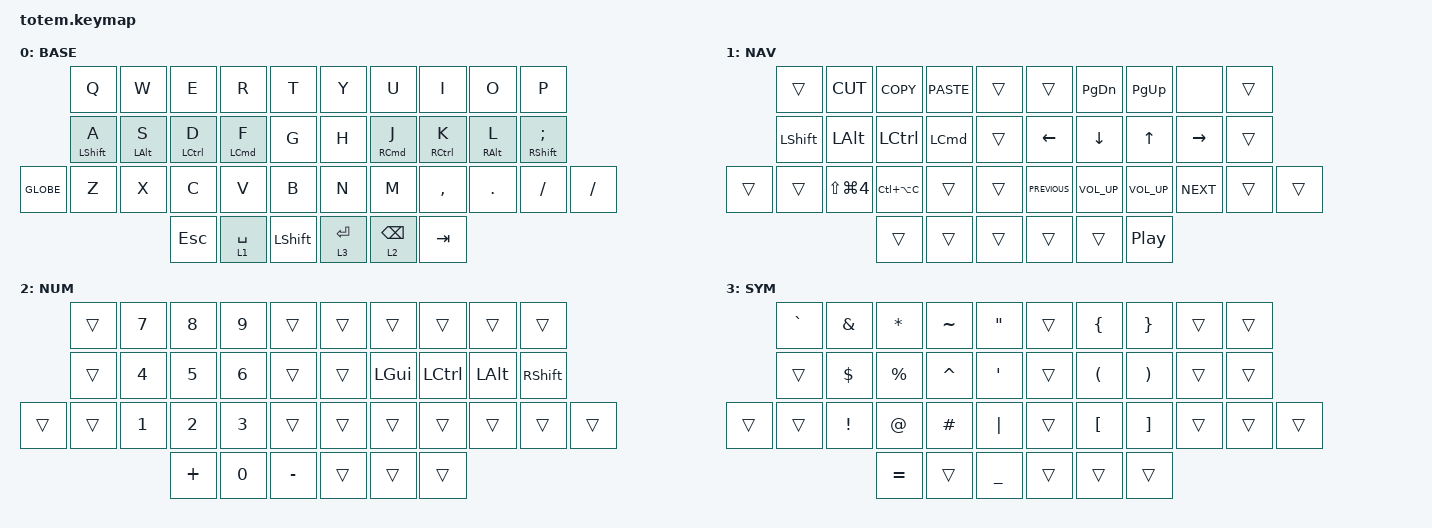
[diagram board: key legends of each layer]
//
//                                                        ▀▀▀▀▀     ▀▀▀▀▀          ▀▀█▀▀
//                                                        ▄▀▀▀▄  ▄  ▄▀▀▀▄  ▄  ▄▀▀▀▄  █  ▄▀▀▀▄
//                                                        █   █  █  █   █  █  █   █  █  █   █
//                                                         ▀▀▀   █   ▀▀▀   █   ▀▀▀   ▀   ▀▀▀
//                                                               █      ▄▄▄█▄▄▄    █   █  
//                                                               ▀      █  █  █     █▄█
//                                                             ▀▀▀▀▀    █  █  █      ▀
//                                                                      ▀  ▀  ▀
//
// ▄▄▄▄▄▄▄▄▄▄▄▄▄▄▄▄▄▄▄▄▄▄▄▄▄▄▄▄▄▄▄▄▄▄▄▄▄▄▄▄▄▄▄▄▄▄▄▄▄▄▄▄▄▄▄▄▄▄▄▄▄▄▄▄▄▄▄▄▄▄▄▄▄▄▄▄▄▄▄▄▄▄▄▄▄▄▄▄▄▄▄▄▄▄▄▄▄▄▄▄▄▄▄▄▄▄▄▄▄▄▄▄▄▄▄▄▄▄▄▄▄▄▄▄▄▄▄▄▄▄▄▄▄▄▄▄▄▄▄▄▄▄▄▄▄▄▄▄▄

#include <behaviors.dtsi>
#include <dt-bindings/zmk/keys.h>

#define BASE 0
#define NAV  1
#define SYM  2
#define ADJ  3

&mt {
    quick-tap-ms = <100>;
    global-quick-tap;
    flavor = "tap-preferred";
    tapping-term-ms = <170>;
};

/ {
    combos { compatible = "zmk,combos"; };

    macros {
        gif: gif {
            label = "giphy";
            compatible = "zmk,behavior-macro";
            #binding-cells = <0>;
            bindings =
                <&macro_press>,
                <&kp LSHFT>,
                <&macro_tap>,
                <&kp N2>,
                <&macro_release>,
                <&kp LSHFT>,
                <&macro_tap>,
                <&kp G &kp I &kp F>;
        };
    };

    keymap {
        compatible = "zmk,keymap";

        // ▄▄▄▄▄▄▄▄▄▄▄▄▄▄▄▄▄▄▄▄▄▄▄▄▄▄▄▄▄▄▄▄▄▄▄▄▄▄▄▄▄▄▄▄▄▄▄▄▄▄▄▄▄▄▄▄▄▄▄▄▄▄▄▄▄▄▄▄▄▄▄▄▄▄▄▄▄▄▄▄▄▄▄▄▄▄▄▄▄▄▄▄▄▄▄▄▄▄▄▄▄▄▄▄▄▄▄▄▄▄▄▄▄▄▄▄▄▄▄▄▄▄▄▄▄▄▄▄▄▄▄▄▄▄▄▄▄▄▄▄▄▄▄▄▄▄▄▄▄

        base_layer {
            // ┏━━━━━━━━━━━━━━━━━━━━━━━━━━━━━━━━━━━━━━━┓

            label = "BASE";

            // ┗━━━━━━━━━━━━━━━━━━━━━━━━━━━━━━━━━━━━━━━┛
            //             ┏━━━━━━━━━━━┳━━━━━━━━━━━┳━━━━━━━━━━━┳━━━━━━━━━━━┳━━━━━━━━━━━┓   ┏━━━━━━━━━━━┳━━━━━━━━━━━┳━━━━━━━━━━━┳━━━━━━━━━━━┳━━━━━━━━━━━┓
            //             ┃     Q     ┃     W     ┃     F     ┃     P     ┃     G     ┃   ┃     J     ┃     L     ┃     U     ┃     Y     ┃     ;     ┃
            //             ┣━━━━━━━━━━━╋━━━━━━━━━━━╋━━━━━━━━━━━╋━━━━━━━━━━━╋━━━━━━━━━━━┫   ┣━━━━━━━━━━━╋━━━━━━━━━━━╋━━━━━━━━━━━╋━━━━━━━━━━━╋━━━━━━━━━━━┫
            //             ┃     A     ┃     R     ┃     S     ┃     T     ┃     D     ┃   ┃     H     ┃     N     ┃     E     ┃     I     ┃     O     ┃
            // ┏━━━━━━━━━━━╋━━━━━━━━━━━╋━━━━━━━━━━━╋━━━━━━━━━━━╋━━━━━━━━━━━╋━━━━━━━━━━━┫   ┣━━━━━━━━━━━╋━━━━━━━━━━━╋━━━━━━━━━━━╋━━━━━━━━━━━╋━━━━━━━━━━━╋━━━━━━━━━━━┓
            // ┃           ┃     Z     ┃     X     ┃     C     ┃     V     ┃     B     ┃   ┃     K     ┃     M     ┃     ,     ┃     .     ┃     /     ┃           ┃
            // ┗━━━━━━━━━━━┻━━━━━━━━━━━┻━━━━━━━━━━━╋━━━━━━━━━━━╋━━━━━━━━━━━╋━━━━━━━━━━━┫   ┣━━━━━━━━━━━╋━━━━━━━━━━━╋━━━━━━━━━━━╋━━━━━━━━━━━┻━━━━━━━━━━━┻━━━━━━━━━━━┛
            //                                     ┃           ┃    TAB    ┃    SPC    ┃   ┃   ENTER   ┃   BSPC    ┃           ┃
            //                                     ┗━━━━━━━━━━━┻━━━━━━━━━━━┻━━━━━━━━━━━┛   ┗━━━━━━━━━━━┻━━━━━━━━━━━┻━━━━━━━━━━━┛

            bindings = <
           &kp Q             &kp W       &kp E        &kp R               &kp T             &kp Y      &kp U                &kp I        &kp O       &kp P
           &mt LEFT_SHIFT A  &mt LALT S  &mt LCTRL D  &mt LEFT_COMMAND F  &kp G             &kp H      &mt RIGHT_COMMAND J  &mt RCTRL K  &mt RALT L  &mt RIGHT_SHIFT SEMI
&kp GLOBE  &kp Z             &kp X       &kp C        &kp V               &kp B             &kp N      &kp M                &kp COMMA    &kp DOT     &kp FSLH              &kp FSLH
                                         &kp ESC      &lt 1 SPACE         &kp LEFT_SHIFT    &lt 3 RET  &lt 2 BACKSPACE      &kp TAB
            >;
        };

        NAV {
            bindings = <
        &trans          &kp K_CUT             &kp K_COPY        &kp K_PASTE       &trans    &trans          &kp PAGE_DOWN    &kp PAGE_UP       &none            &trans
        &kp LEFT_SHIFT  &kp LEFT_ALT          &kp LEFT_CONTROL  &kp LEFT_COMMAND  &trans    &kp LEFT_ARROW  &kp DOWN_ARROW   &kp UP_ARROW      &kp RIGHT_ARROW  &trans
&trans  &trans          &kp LS(LG(NUMBER_4))  &kp LC(LA(C))     &trans            &trans    &kp C_PREVIOUS  &kp C_VOLUME_UP  &kp C_VOLUME_UP   &kp C_NEXT       &trans  &trans
                                              &trans            &trans            &trans    &trans          &trans           &kp C_PLAY_PAUSE
            >;
        };

        NUM {
            bindings = <
        &trans  &kp N7        &kp N8    &kp N9  &trans       &trans  &trans    &trans     &trans    &trans
        &trans  &kp N4        &kp N5    &kp N6  &trans       &trans  &kp LGUI  &kp LCTRL  &kp LALT  &kp RSHFT
&trans  &trans  &kp NUMBER_1  &kp N2    &kp N3  &trans       &trans  &trans    &trans     &trans    &trans     &trans
                              &kp PLUS  &kp N0  &kp MINUS    &trans  &trans    &trans
            >;
        };

        SYM {
            bindings = <
        &kp GRAVE  &kp AMPERSAND  &kp ASTERISK  &kp TILDE  &kp DOUBLE_QUOTES    &trans  &kp LEFT_BRACE        &kp RIGHT_BRACE        &trans  &trans
        &trans     &kp DOLLAR     &kp PERCENT   &kp CARET  &kp SQT              &trans  &kp LEFT_PARENTHESIS  &kp RIGHT_PARENTHESIS  &trans  &trans
&trans  &trans     &kp EXCL       &kp AT_SIGN   &kp HASH   &kp PIPE             &trans  &kp LEFT_BRACKET      &kp RIGHT_BRACKET      &trans  &trans  &trans
                                  &kp EQUAL     &trans     &kp UNDERSCORE       &trans  &trans                &trans
            >;
        };
    };
};
